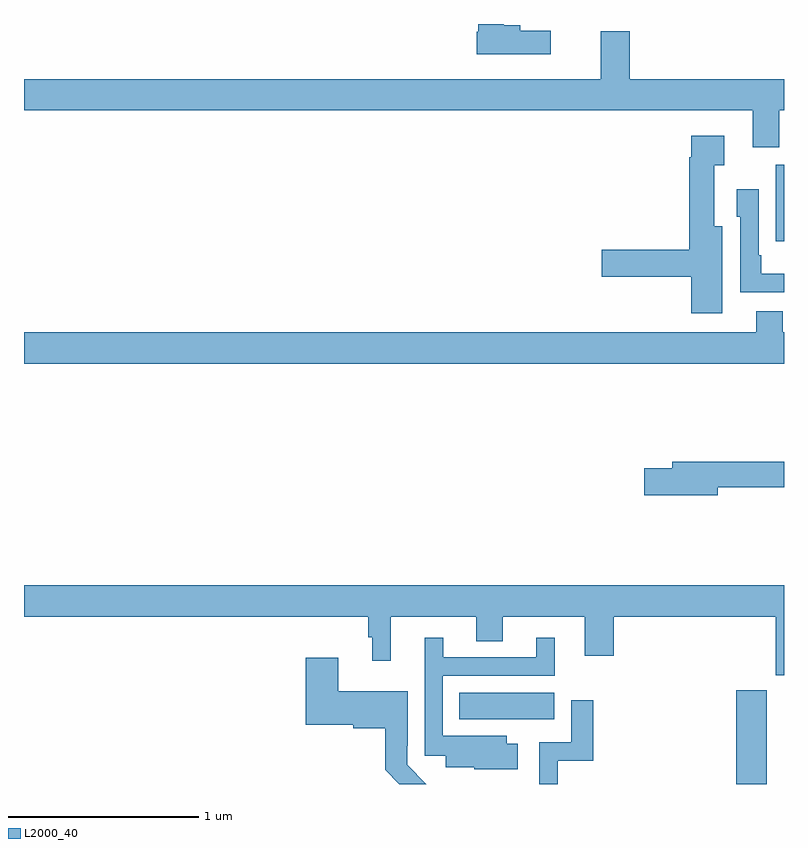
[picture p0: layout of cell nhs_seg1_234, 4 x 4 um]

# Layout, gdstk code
import gdstk
lib = gdstk.Library(unit=1e-6, precision=1e-09)
def R(c, l, rs):  # rectangles x0, y0, x1, y1
    for r in rs: c.add(gdstk.rectangle(r[:2], r[2:], *l))
def P(c, l, *ps):  # polygons
    for p in ps: c.add(gdstk.Polygon(p, *l))
L2000_40 = (2000, 40)

nhs_seg1_234 = lib.new_cell('nhs_seg1_234')
R(nhs_seg1_234, L2000_40, [(126.749,536.199,126.909,536.692), (125.29,536.54,125.791,536.68), (126.956,539.055,127,539.459)])
P(nhs_seg1_234, L2000_40, [(125.773,540.163),(125.611,540.163),(125.611,540.193),(125.524,540.193),(125.524,540.199),(125.39,540.199),(125.39,540.159),(125.384,540.159),(125.384,540.041),(125.773,540.041)],
  [(126.976,539.744),(127,539.744),(127,539.908),(126.188,539.908),(126.188,540.16),(126.035,540.16),(126.035,539.908),(123,539.908),(123,539.744),(126.836,539.744),(126.836,539.55),(126.976,539.55)],
  [(126.676,539.134),(126.634,539.134),(126.634,539.455),(126.685,539.455),(126.685,539.611),(126.512,539.611),(126.512,539.498),(126.5,539.498),(126.5,539.012),(126.042,539.012),(126.042,538.87),(126.512,538.87),(126.512,538.677),(126.676,538.677)],
  [(127,538.885),(126.88,538.885),(126.88,538.981),(126.867,538.981),(126.867,539.329),(126.75,539.329),(126.75,539.184),(126.771,539.184),(126.771,538.788),(127,538.788)],
  [(127,538.576),(126.993,538.576),(126.993,538.686),(126.854,538.686),(126.854,538.576),(123,538.576),(123,538.412),(127,538.412)],
  [(126.652,537.76),(127,537.76),(127,537.896),(126.413,537.896),(126.413,537.86),(126.264,537.86),(126.264,537.718),(126.652,537.718)],
  [(127,537.244),(123,537.244),(123,537.08),(124.813,537.08),(124.813,536.972),(124.832,536.972),(124.832,536.847),(124.931,536.847),(124.931,537.08),(125.381,537.08),(125.381,536.95),(125.521,536.95),(125.521,537.08),(125.951,537.08),(125.951,536.874),(126.104,536.874),(126.104,537.08),(126.956,537.08),(126.956,536.771),(127,536.771)],
  [(125.599,536.41),(125.542,536.41),(125.542,536.452),(125.205,536.452),(125.205,536.769),(125.794,536.769),(125.794,536.968),(125.696,536.968),(125.696,536.865),(125.206,536.865),(125.206,536.968),(125.109,536.968),(125.109,536.349),(125.219,536.349),(125.219,536.288),(125.37,536.288),(125.37,536.276),(125.599,536.276)],
  [(125.016,536.301),(125.016,536.401),(125.019,536.401),(125.019,536.686),(124.654,536.686),(124.654,536.863),(124.484,536.863),(124.484,536.51),(124.734,536.51),(124.734,536.492),(124.901,536.492),(124.901,536.273),(124.975,536.199),(125.118,536.199)],
  [(125.809,536.322),(125.996,536.322),(125.996,536.641),(125.88,536.641),(125.88,536.418),(125.712,536.418),(125.712,536.199),(125.809,536.199)])

lib.write_gds('nhs_seg1_234.gds')
